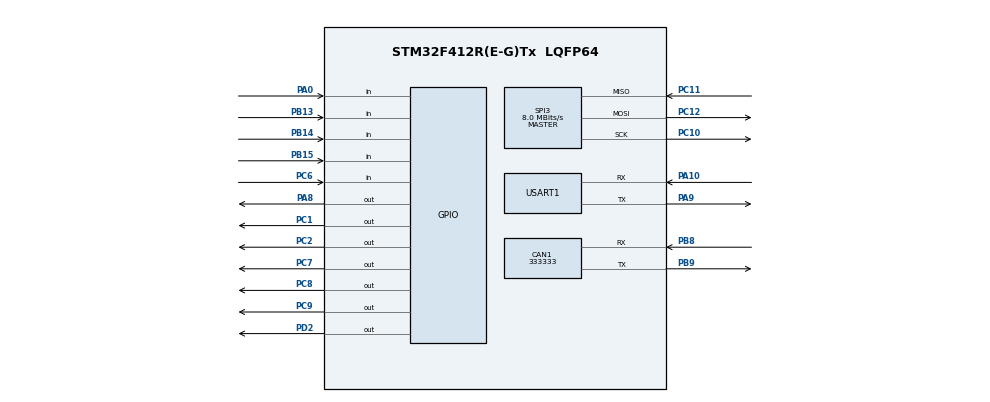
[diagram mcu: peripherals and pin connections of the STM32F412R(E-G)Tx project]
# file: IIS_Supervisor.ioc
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CAN1.CalculateBaudRate=333333
CAN1.CalculateTimeBit=3000
CAN1.CalculateTimeQuantum=1000.0
Mcu.Family=STM32F4
Mcu.Name=STM32F412R(E-G)Tx
Mcu.Package=LQFP64
NVIC.PriorityGroup=NVIC_PRIORITYGROUP_4
PA0.Signal=GPIO_Input
PA10.Mode=Asynchronous
PA10.Signal=USART1_RX
PA13.Mode=Serial_Wire
PA13.Signal=SYS_JTMS-SWDIO
PA14.Mode=Serial_Wire
PA14.Signal=SYS_JTCK-SWCLK
PA8.Signal=GPIO_Output
PA9.Mode=Asynchronous
PA9.Signal=USART1_TX
PB13.Signal=GPIO_Input
PB14.Signal=GPIO_Input
PB15.Signal=GPIO_Input
PB8.Mode=CAN_Activate
PB8.Signal=CAN1_RX
PB9.Mode=CAN_Activate
PB9.Signal=CAN1_TX
PC1.Signal=GPIO_Output
PC10.Mode=Full_Duplex_Master
PC10.Signal=SPI3_SCK
PC11.Mode=Full_Duplex_Master
PC11.Signal=SPI3_MISO
PC12.Mode=Full_Duplex_Master
PC12.Signal=SPI3_MOSI
PC14-OSC32_IN.Mode=LSE-External-Oscillator
PC14-OSC32_IN.Signal=RCC_OSC32_IN
PC15-OSC32_OUT.Mode=LSE-External-Oscillator
PC15-OSC32_OUT.Signal=RCC_OSC32_OUT
PC2.Signal=GPIO_Output
PC6.Signal=GPIO_Input
PC7.Signal=GPIO_Output
PC8.Signal=GPIO_Output
PC9.Signal=GPIO_Output
PD2.Signal=GPIO_Output
PH0\ -\ OSC_IN.Mode=HSE-External-Oscillator
PH0\ -\ OSC_IN.Signal=RCC_OSC_IN
PH1\ -\ OSC_OUT.Mode=HSE-External-Oscillator
PH1\ -\ OSC_OUT.Signal=RCC_OSC_OUT
ProjectManager.HeapSize=0x200
ProjectManager.StackSize=0x400
ProjectManager.TargetToolchain=STM32CubeIDE
RCC.CortexFreq_Value=16000000
RCC.USBFreq_Value=96000000
RCC.VCOOutputFreq_Value=192000000
SPI3.CalculateBaudRate=8.0 MBits/s
SPI3.Direction=SPI_DIRECTION_2LINES
SPI3.Mode=SPI_MODE_MASTER
SPI3.VirtualType=VM_MASTER
USART1.VirtualMode=VM_ASYNC
VP_RTC_VS_RTC_Activate.Mode=RTC_Enabled
board=custom

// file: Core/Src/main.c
/* USER CODE BEGIN Header */
/**
  ******************************************************************************
  * @file           : main.c
  * @brief          : Main program body
  ******************************************************************************
  * @attention
  *
  * Copyright (c) 2023 STMicroelectronics.
  * All rights reserved.
  *
  * This software is licensed under terms that can be found in the LICENSE file
  * in the root directory of this software component.
  * If no LICENSE file comes with this software, it is provided AS-IS.
  *
  ******************************************************************************
  */
/* USER CODE END Header */
#include "main.h"

/* USER CODE BEGIN Includes */
#include "fatfs_sd.h"
#include "1-ConfigurationParser.h"
#include "2-GlobalRoutines.h"
/* USER CODE END Includes */

CAN_HandleTypeDef hcan1;

RTC_HandleTypeDef hrtc;

SPI_HandleTypeDef hspi3;

UART_HandleTypeDef huart1;

/* USER CODE BEGIN PV */
GeneralCard Card;
RawConfig Config;
/* USER CODE END PV */

void SystemClock_Config(void);
static void MX_GPIO_Init(void);
static void MX_CAN1_Init(void);
static void MX_RTC_Init(void);
static void MX_SPI3_Init(void);
static void MX_USART1_UART_Init(void);

/* USER CODE BEGIN 0 */
CAN_TxHeaderTypeDef TxHeader;
uint32_t MailBox;
uint8_t TxData[8];

CAN_RxHeaderTypeDef RxHeader;
uint8_t RxData[8];

union Data TxRXData;
float RxNumber;
/* USER CODE END 0 */

int main(void)
{
  /* USER CODE BEGIN 1 */
  FATFS fs;
  FRESULT fresult;
  /* USER CODE END 1 */

  /* MCU Configuration--------------------------------------------------------*/

  /* Reset of all peripherals, Initializes the Flash interface and the Systick. */
  HAL_Init();

  /* Configure the system clock */
  SystemClock_Config();

  /* Initialize all configured peripherals */
  MX_GPIO_Init();
  MX_CAN1_Init();
  MX_RTC_Init();
  MX_SPI3_Init();
  MX_USART1_UART_Init();
  /* USER CODE BEGIN 2 */
  HAL_UART_Init(&huart1);
  HAL_CAN_Start(&hcan1);
  HAL_CAN_ActivateNotification(&hcan1,CAN_IT_RX_FIFO0_MSG_PENDING);
  /* USER CODE END 2 */
  fresult = f_mount(&fs,"",0);
  if (fresult != FR_OK)
	  Error_Handler();
  if (ReadConfigFile(&Config) == TAS_CONFIG_NUM)
	  Error_Handler();
  if (Parser(&Card,&Config))
	  Error_Handler();

  Card.sTim = &htim6;
  Card.CAN = &hcan1;
  /* Infinite loop */
  while (1)
  {

  }
}

void SystemClock_Config(void)
{
  RCC_OscInitTypeDef RCC_OscInitStruct = {0};
  RCC_ClkInitTypeDef RCC_ClkInitStruct = {0};

  /** Configure the main internal regulator output voltage
  */
  __HAL_RCC_PWR_CLK_ENABLE();
  __HAL_PWR_VOLTAGESCALING_CONFIG(PWR_REGULATOR_VOLTAGE_SCALE1);

  /** Initializes the RCC Oscillators according to the specified parameters
  * in the RCC_OscInitTypeDef structure.
  */
  RCC_OscInitStruct.OscillatorType = RCC_OSCILLATORTYPE_HSI|RCC_OSCILLATORTYPE_LSI;
  RCC_OscInitStruct.LSEState = RCC_LSE_ON;
  RCC_OscInitStruct.HSIState = RCC_HSI_ON;
  RCC_OscInitStruct.HSICalibrationValue = RCC_HSICALIBRATION_DEFAULT;
  RCC_OscInitStruct.LSIState = RCC_LSI_ON;
  RCC_OscInitStruct.PLL.PLLState = RCC_PLL_NONE;
  if (HAL_RCC_OscConfig(&RCC_OscInitStruct) != HAL_OK)
  {
    Error_Handler();
  }

  /** Initializes the CPU, AHB and APB buses clocks
  */
  RCC_ClkInitStruct.ClockType = RCC_CLOCKTYPE_HCLK|RCC_CLOCKTYPE_SYSCLK
                              |RCC_CLOCKTYPE_PCLK1|RCC_CLOCKTYPE_PCLK2;
  RCC_ClkInitStruct.SYSCLKSource = RCC_SYSCLKSOURCE_HSI;
  RCC_ClkInitStruct.AHBCLKDivider = RCC_SYSCLK_DIV1;
  RCC_ClkInitStruct.APB1CLKDivider = RCC_HCLK_DIV1;
  RCC_ClkInitStruct.APB2CLKDivider = RCC_HCLK_DIV1;

  if (HAL_RCC_ClockConfig(&RCC_ClkInitStruct, FLASH_LATENCY_0) != HAL_OK)
  {
    Error_Handler();
  }
}

static void MX_CAN1_Init(void)
{

  hcan1.Instance = CAN1;
  hcan1.Init.Prescaler = 16;
  hcan1.Init.Mode = CAN_MODE_NORMAL;
  hcan1.Init.SyncJumpWidth = CAN_SJW_1TQ;
  hcan1.Init.TimeSeg1 = CAN_BS1_1TQ;
  hcan1.Init.TimeSeg2 = CAN_BS2_1TQ;
  hcan1.Init.TimeTriggeredMode = DISABLE;
  hcan1.Init.AutoBusOff = DISABLE;
  hcan1.Init.AutoWakeUp = DISABLE;
  hcan1.Init.AutoRetransmission = DISABLE;
  hcan1.Init.ReceiveFifoLocked = DISABLE;
  hcan1.Init.TransmitFifoPriority = DISABLE;
  if (HAL_CAN_Init(&hcan1) != HAL_OK)
  {
    Error_Handler();
  }

}

static void MX_RTC_Init(void)
{

  /** Initialize RTC Only
  */
  hrtc.Instance = RTC;
  hrtc.Init.HourFormat = RTC_HOURFORMAT_24;
  hrtc.Init.AsynchPrediv = 127;
  hrtc.Init.SynchPrediv = 255;
  hrtc.Init.OutPut = RTC_OUTPUT_DISABLE;
  hrtc.Init.OutPutPolarity = RTC_OUTPUT_POLARITY_HIGH;
  hrtc.Init.OutPutType = RTC_OUTPUT_TYPE_OPENDRAIN;
  if (HAL_RTC_Init(&hrtc) != HAL_OK)
  {
    Error_Handler();
  }

}

static void MX_SPI3_Init(void)
{

  /* SPI3 parameter configuration*/
  hspi3.Instance = SPI3;
  hspi3.Init.Mode = SPI_MODE_MASTER;
  hspi3.Init.Direction = SPI_DIRECTION_2LINES;
  hspi3.Init.DataSize = SPI_DATASIZE_8BIT;
  hspi3.Init.CLKPolarity = SPI_POLARITY_LOW;
  hspi3.Init.CLKPhase = SPI_PHASE_1EDGE;
  hspi3.Init.NSS = SPI_NSS_SOFT;
  hspi3.Init.BaudRatePrescaler = SPI_BAUDRATEPRESCALER_2;
  hspi3.Init.FirstBit = SPI_FIRSTBIT_MSB;
  hspi3.Init.TIMode = SPI_TIMODE_DISABLE;
  hspi3.Init.CRCCalculation = SPI_CRCCALCULATION_DISABLE;
  hspi3.Init.CRCPolynomial = 10;
  if (HAL_SPI_Init(&hspi3) != HAL_OK)
  {
    Error_Handler();
  }

}

static void MX_USART1_UART_Init(void)
{

  huart1.Instance = USART1;
  huart1.Init.BaudRate = 115200;
  huart1.Init.WordLength = UART_WORDLENGTH_8B;
  huart1.Init.StopBits = UART_STOPBITS_1;
  huart1.Init.Parity = UART_PARITY_NONE;
  huart1.Init.Mode = UART_MODE_TX_RX;
  huart1.Init.HwFlowCtl = UART_HWCONTROL_NONE;
  huart1.Init.OverSampling = UART_OVERSAMPLING_16;
  if (HAL_UART_Init(&huart1) != HAL_OK)
  {
    Error_Handler();
  }

}

static void MX_GPIO_Init(void)
{
  GPIO_InitTypeDef GPIO_InitStruct = {0};

  /* GPIO Ports Clock Enable */
  __HAL_RCC_GPIOC_CLK_ENABLE();
  __HAL_RCC_GPIOH_CLK_ENABLE();
  __HAL_RCC_GPIOA_CLK_ENABLE();
  __HAL_RCC_GPIOB_CLK_ENABLE();
  __HAL_RCC_GPIOD_CLK_ENABLE();

  /*Configure GPIO pin Output Level */
  HAL_GPIO_WritePin(GPIOC, GPIO_PIN_1|GPIO_PIN_2|GPIO_PIN_7|GPIO_PIN_8
                          |GPIO_PIN_9, GPIO_PIN_RESET);

  /*Configure GPIO pin Output Level */
  HAL_GPIO_WritePin(GPIOA, GPIO_PIN_8, GPIO_PIN_RESET);

  /*Configure GPIO pin Output Level */
  HAL_GPIO_WritePin(GPIOD, GPIO_PIN_2, GPIO_PIN_RESET);

  /*Configure GPIO pins : PC1 PC2 PC7 PC8
                           PC9 */
  GPIO_InitStruct.Pin = GPIO_PIN_1|GPIO_PIN_2|GPIO_PIN_7|GPIO_PIN_8
                          |GPIO_PIN_9;
  GPIO_InitStruct.Mode = GPIO_MODE_OUTPUT_PP;
  GPIO_InitStruct.Pull = GPIO_NOPULL;
  GPIO_InitStruct.Speed = GPIO_SPEED_FREQ_LOW;
  HAL_GPIO_Init(GPIOC, &GPIO_InitStruct);

  /*Configure GPIO pin : PA0 */
  GPIO_InitStruct.Pin = GPIO_PIN_0;
  GPIO_InitStruct.Mode = GPIO_MODE_INPUT;
  GPIO_InitStruct.Pull = GPIO_NOPULL;
  HAL_GPIO_Init(GPIOA, &GPIO_InitStruct);

  /*Configure GPIO pins : PB13 PB14 PB15 */
  GPIO_InitStruct.Pin = GPIO_PIN_13|GPIO_PIN_14|GPIO_PIN_15;
  GPIO_InitStruct.Mode = GPIO_MODE_INPUT;
  GPIO_InitStruct.Pull = GPIO_NOPULL;
  HAL_GPIO_Init(GPIOB, &GPIO_InitStruct);

  /*Configure GPIO pin : PC6 */
  GPIO_InitStruct.Pin = GPIO_PIN_6;
  GPIO_InitStruct.Mode = GPIO_MODE_INPUT;
  GPIO_InitStruct.Pull = GPIO_NOPULL;
  HAL_GPIO_Init(GPIOC, &GPIO_InitStruct);

  /*Configure GPIO pin : PA8 */
  GPIO_InitStruct.Pin = GPIO_PIN_8;
  GPIO_InitStruct.Mode = GPIO_MODE_OUTPUT_PP;
  GPIO_InitStruct.Pull = GPIO_NOPULL;
  GPIO_InitStruct.Speed = GPIO_SPEED_FREQ_LOW;
  HAL_GPIO_Init(GPIOA, &GPIO_InitStruct);

  /*Configure GPIO pin : PD2 */
  GPIO_InitStruct.Pin = GPIO_PIN_2;
  GPIO_InitStruct.Mode = GPIO_MODE_OUTPUT_PP;
  GPIO_InitStruct.Pull = GPIO_NOPULL;
  GPIO_InitStruct.Speed = GPIO_SPEED_FREQ_LOW;
  HAL_GPIO_Init(GPIOD, &GPIO_InitStruct);

}

void Error_Handler(void)
{
  __disable_irq();
  while (1)
  {
  }
}
